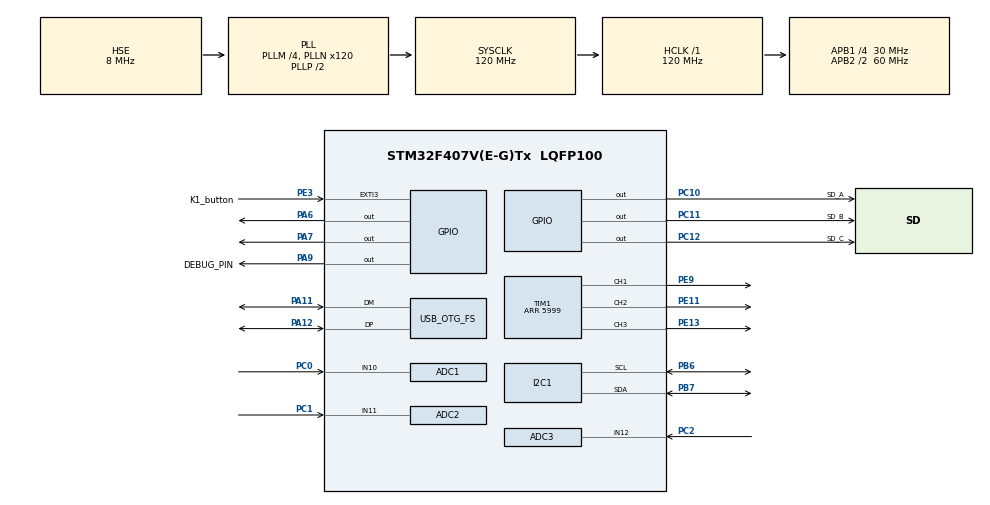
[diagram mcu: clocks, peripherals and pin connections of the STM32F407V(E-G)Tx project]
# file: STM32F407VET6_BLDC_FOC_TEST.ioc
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ADC1.Channel-3\#ChannelRegularConversion=ADC_CHANNEL_10
ADC1.Channel-4\#ChannelInjectedConversion=ADC_CHANNEL_10
ADC1.ExternalTrigInjecConv=ADC_EXTERNALTRIGINJECCONV_T1_CC4
ADC1.ExternalTrigInjecConvEdge=ADC_EXTERNALTRIGINJECCONVEDGE_FALLING
ADC1.InjNumberOfConversion=1
ADC1.InjectedOffset-4\#ChannelInjectedConversion=0
ADC1.InjectedRank-4\#ChannelInjectedConversion=1
ADC1.Mode=ADC_TRIPLEMODE_INJECSIMULT
ADC1.NbrOfConversionFlag=1
ADC1.Rank-3\#ChannelRegularConversion=1
ADC1.SamplingTime-3\#ChannelRegularConversion=ADC_SAMPLETIME_3CYCLES
ADC1.SamplingTime-4\#ChannelInjectedConversion=ADC_SAMPLETIME_28CYCLES
ADC1.master=1
ADC2.Channel-4\#ChannelRegularConversion=ADC_CHANNEL_11
ADC2.Channel-5\#ChannelInjectedConversion=ADC_CHANNEL_11
ADC2.InjNumberOfConversion=1
ADC2.InjectedOffset-5\#ChannelInjectedConversion=0
ADC2.InjectedRank-5\#ChannelInjectedConversion=1
ADC2.Mode=ADC_TRIPLEMODE_INJECSIMULT
ADC2.NbrOfConversionFlag=1
ADC2.Rank-4\#ChannelRegularConversion=1
ADC2.SamplingTime-4\#ChannelRegularConversion=ADC_SAMPLETIME_3CYCLES
ADC2.SamplingTime-5\#ChannelInjectedConversion=ADC_SAMPLETIME_28CYCLES
ADC3.Channel-0\#ChannelRegularConversion=ADC_CHANNEL_12
ADC3.Channel-1\#ChannelInjectedConversion=ADC_CHANNEL_12
ADC3.InjNumberOfConversion=1
ADC3.InjectedOffset-1\#ChannelInjectedConversion=0
ADC3.InjectedRank-1\#ChannelInjectedConversion=1
ADC3.Mode=ADC_TRIPLEMODE_INJECSIMULT
ADC3.NbrOfConversionFlag=1
ADC3.Rank-0\#ChannelRegularConversion=1
ADC3.SamplingTime-0\#ChannelRegularConversion=ADC_SAMPLETIME_3CYCLES
ADC3.SamplingTime-1\#ChannelInjectedConversion=ADC_SAMPLETIME_28CYCLES
FREERTOS.Tasks01=mainTask1,24,2048,main_task1,Default,NULL,Static,defaultTaskBuffer,defaultTaskControlBlock;debugTask,8,1024,debug_main,Default,NULL,Static,debugTaskBuffer,debugTaskControlBlock
FREERTOS.configUSE_NEWLIB_REENTRANT=1
I2C1.I2C_Mode=I2C_Fast
Mcu.Family=STM32F4
Mcu.Name=STM32F407V(E-G)Tx
Mcu.Package=LQFP100
NVIC.ADC_IRQn=true\:5\:0\:false\:false\:true\:true\:true\:true\:true
NVIC.EXTI3_IRQn=true\:5\:0\:false\:false\:true\:true\:true\:true\:true
NVIC.OTG_FS_IRQn=true\:5\:0\:false\:false\:true\:true\:false\:true\:true
NVIC.PriorityGroup=NVIC_PRIORITYGROUP_4
NVIC.TIM6_DAC_IRQn=true\:15\:0\:false\:false\:true\:false\:false\:true\:true
NVIC.TimeBase=TIM6_DAC_IRQn
NVIC.TimeBaseIP=TIM6
PA11.Mode=Device_Only
PA11.Signal=USB_OTG_FS_DM
PA12.Mode=Device_Only
PA12.Signal=USB_OTG_FS_DP
PA6.Signal=GPIO_Output
PA7.Signal=GPIO_Output
PA9.GPIO_Label=DEBUG_PIN
PA9.Signal=GPIO_Output
PB6.Mode=I2C
PB6.Signal=I2C1_SCL
PB7.Mode=I2C
PB7.Signal=I2C1_SDA
PC0.Signal=ADCx_IN10
PC1.Signal=ADCx_IN11
PC10.GPIO_Label=SD_A
PC10.Signal=GPIO_Output
PC11.GPIO_Label=SD_B
PC11.Signal=GPIO_Output
PC12.GPIO_Label=SD_C
PC12.Signal=GPIO_Output
PC2.Signal=ADCx_IN12
PE11.Signal=S_TIM1_CH2
PE13.Signal=S_TIM1_CH3
PE3.GPIO_Label=K1_button
PE3.GPIO_ModeDefaultEXTI=GPIO_MODE_IT_RISING_FALLING
PE3.Signal=GPXTI3
PE9.Signal=S_TIM1_CH1
PH0-OSC_IN.Mode=HSE-External-Oscillator
PH0-OSC_IN.Signal=RCC_OSC_IN
PH1-OSC_OUT.Mode=HSE-External-Oscillator
PH1-OSC_OUT.Signal=RCC_OSC_OUT
ProjectManager.HeapSize=0x200
ProjectManager.StackSize=0x400
ProjectManager.TargetToolchain=STM32CubeIDE
RCC.48MHZClocksFreq_Value=48000000
RCC.AHBFreq_Value=120000000
RCC.APB1CLKDivider=RCC_HCLK_DIV4
RCC.APB1Freq_Value=30000000
RCC.APB1TimFreq_Value=60000000
RCC.APB2CLKDivider=RCC_HCLK_DIV2
RCC.APB2Freq_Value=60000000
RCC.APB2TimFreq_Value=120000000
RCC.CortexFreq_Value=120000000
RCC.HCLKFreq_Value=120000000
RCC.HSE_VALUE=8000000
RCC.HSI_VALUE=16000000
RCC.LSE_VALUE=32768
RCC.PLLM=4
RCC.PLLN=120
RCC.PLLQ=5
RCC.SYSCLKFreq_VALUE=120000000
RCC.SYSCLKSource=RCC_SYSCLKSOURCE_PLLCLK
RCC.VCOOutputFreq_Value=240000000
SH.ADCx_IN10.0=ADC1_IN10,IN10
SH.ADCx_IN11.0=ADC2_IN11,IN11
SH.ADCx_IN12.0=ADC3_IN12,IN12
SH.S_TIM1_CH1.0=TIM1_CH1,PWM Generation1 CH1
SH.S_TIM1_CH2.0=TIM1_CH2,PWM Generation2 CH2
SH.S_TIM1_CH3.0=TIM1_CH3,PWM Generation3 CH3
TIM1.AutoReloadPreload=TIM_AUTORELOAD_PRELOAD_ENABLE
TIM1.Channel-PWM\ Generation1\ CH1=TIM_CHANNEL_1
TIM1.Channel-PWM\ Generation2\ CH2=TIM_CHANNEL_2
TIM1.Channel-PWM\ Generation3\ CH3=TIM_CHANNEL_3
TIM1.Channel-PWM\ Generation4\ No\ Output=TIM_CHANNEL_4
TIM1.CounterMode=TIM_COUNTERMODE_CENTERALIGNED2
TIM1.Period=5999
TIM1.TIM_MasterOutputTrigger=TIM_TRGO_UPDATE
USB_DEVICE.CLASS_NAME_FS=CDC
USB_DEVICE.VirtualMode-CDC_FS=Cdc
USB_DEVICE.VirtualModeFS=Cdc_FS
USB_OTG_FS.VirtualMode=Device_Only
VP_FREERTOS_VS_CMSIS_V2.Mode=CMSIS_V2
VP_SYS_VS_tim6.Mode=TIM6
VP_TIM1_VS_no_output4.Mode=PWM Generation4 No Output
VP_USB_DEVICE_VS_USB_DEVICE_CDC_FS.Mode=CDC_FS
board=custom

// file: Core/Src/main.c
/* USER CODE BEGIN Header */
/**
 ******************************************************************************
 * @file           : main.c
 * @brief          : Main program body
 ******************************************************************************
 * @attention
 *
 * Copyright (c) 2026 STMicroelectronics.
 * All rights reserved.
 *
 * This software is licensed under terms that can be found in the LICENSE file
 * in the root directory of this software component.
 * If no LICENSE file comes with this software, it is provided AS-IS.
 *
 ******************************************************************************
 */
/* USER CODE END Header */
#include <foc_utils.h>
#include "main.h"
#include "cmsis_os.h"
#include "usb_device.h"

/* USER CODE BEGIN Includes */
#include "as5600.h"
#include "foc_utils.h"
#include "usbd_cdc_if.h"
#include "string.h"
#include "math.h"
/* USER CODE END Includes */

typedef StaticTask_t osStaticThreadDef_t;

/* USER CODE BEGIN PD */
#define POLE_PAIRS_5010		(7)
/* USER CODE END PD */

ADC_HandleTypeDef hadc1;
ADC_HandleTypeDef hadc2;
ADC_HandleTypeDef hadc3;

I2C_HandleTypeDef hi2c1;

TIM_HandleTypeDef htim1;

/* Definitions for mainTask1 */
osThreadId_t mainTask1Handle;
uint32_t defaultTaskBuffer[ 2048 ];
osStaticThreadDef_t defaultTaskControlBlock;
const osThreadAttr_t mainTask1_attributes = {
		.name = "mainTask1",
		.cb_mem = &defaultTaskControlBlock,
		.cb_size = sizeof(defaultTaskControlBlock),
		.stack_mem = &defaultTaskBuffer[0],
		.stack_size = sizeof(defaultTaskBuffer),
		.priority = (osPriority_t) osPriorityNormal,
};
/* Definitions for debugTask */
osThreadId_t debugTaskHandle;
uint32_t debugTaskBuffer[ 1024 ];
osStaticThreadDef_t debugTaskControlBlock;
const osThreadAttr_t debugTask_attributes = {
		.name = "debugTask",
		.cb_mem = &debugTaskControlBlock,
		.cb_size = sizeof(debugTaskControlBlock),
		.stack_mem = &debugTaskBuffer[0],
		.stack_size = sizeof(debugTaskBuffer),
		.priority = (osPriority_t) osPriorityLow,
};

void SystemClock_Config(void);
static void MX_GPIO_Init(void);
static void MX_ADC1_Init(void);
static void MX_TIM1_Init(void);
static void MX_ADC2_Init(void);
static void MX_I2C1_Init(void);
static void MX_ADC3_Init(void);
void main_task1(void *argument);
void debug_main(void *argument);

int main(void)
{

	/* MCU Configuration--------------------------------------------------------*/

	/* Reset of all peripherals, Initializes the Flash interface and the Systick. */
	HAL_Init();

	/* Configure the system clock */
	SystemClock_Config();

	/* Initialize all configured peripherals */
	MX_GPIO_Init();
	MX_ADC1_Init();
	MX_TIM1_Init();
	MX_ADC2_Init();
	MX_I2C1_Init();
	MX_ADC3_Init();

	/* Init scheduler */
	osKernelInitialize();

	/* Create the thread(s) */
	/* creation of mainTask1 */
	mainTask1Handle = osThreadNew(main_task1, NULL, &mainTask1_attributes);

	/* creation of debugTask */
	debugTaskHandle = osThreadNew(debug_main, NULL, &debugTask_attributes);

	/* Start scheduler */
	osKernelStart();

	/* We should never get here as control is now taken by the scheduler */

	/* Infinite loop */
	while (1)
	{

	}
}

void SystemClock_Config(void)
{
	RCC_OscInitTypeDef RCC_OscInitStruct = {0};
	RCC_ClkInitTypeDef RCC_ClkInitStruct = {0};

	/** Configure the main internal regulator output voltage
	 */
	__HAL_RCC_PWR_CLK_ENABLE();
	__HAL_PWR_VOLTAGESCALING_CONFIG(PWR_REGULATOR_VOLTAGE_SCALE1);

	/** Initializes the RCC Oscillators according to the specified parameters
	 * in the RCC_OscInitTypeDef structure.
	 */
	RCC_OscInitStruct.OscillatorType = RCC_OSCILLATORTYPE_HSE;
	RCC_OscInitStruct.HSEState = RCC_HSE_ON;
	RCC_OscInitStruct.PLL.PLLState = RCC_PLL_ON;
	RCC_OscInitStruct.PLL.PLLSource = RCC_PLLSOURCE_HSE;
	RCC_OscInitStruct.PLL.PLLM = 4;
	RCC_OscInitStruct.PLL.PLLN = 120;
	RCC_OscInitStruct.PLL.PLLP = RCC_PLLP_DIV2;
	RCC_OscInitStruct.PLL.PLLQ = 5;
	if (HAL_RCC_OscConfig(&RCC_OscInitStruct) != HAL_OK)
	{
		Error_Handler();
	}

	/** Initializes the CPU, AHB and APB buses clocks
	 */
	RCC_ClkInitStruct.ClockType = RCC_CLOCKTYPE_HCLK|RCC_CLOCKTYPE_SYSCLK
			|RCC_CLOCKTYPE_PCLK1|RCC_CLOCKTYPE_PCLK2;
	RCC_ClkInitStruct.SYSCLKSource = RCC_SYSCLKSOURCE_PLLCLK;
	RCC_ClkInitStruct.AHBCLKDivider = RCC_SYSCLK_DIV1;
	RCC_ClkInitStruct.APB1CLKDivider = RCC_HCLK_DIV4;
	RCC_ClkInitStruct.APB2CLKDivider = RCC_HCLK_DIV2;

	if (HAL_RCC_ClockConfig(&RCC_ClkInitStruct, FLASH_LATENCY_3) != HAL_OK)
	{
		Error_Handler();
	}
}

static void MX_ADC1_Init(void)
{

	ADC_MultiModeTypeDef multimode = {0};
	ADC_ChannelConfTypeDef sConfig = {0};
	ADC_InjectionConfTypeDef sConfigInjected = {0};

	/** Configure the global features of the ADC (Clock, Resolution, Data Alignment and number of conversion)
	 */
	hadc1.Instance = ADC1;
	hadc1.Init.ClockPrescaler = ADC_CLOCK_SYNC_PCLK_DIV2;
	hadc1.Init.Resolution = ADC_RESOLUTION_12B;
	hadc1.Init.ScanConvMode = DISABLE;
	hadc1.Init.ContinuousConvMode = DISABLE;
	hadc1.Init.DiscontinuousConvMode = DISABLE;
	hadc1.Init.ExternalTrigConvEdge = ADC_EXTERNALTRIGCONVEDGE_NONE;
	hadc1.Init.ExternalTrigConv = ADC_SOFTWARE_START;
	hadc1.Init.DataAlign = ADC_DATAALIGN_RIGHT;
	hadc1.Init.NbrOfConversion = 1;
	hadc1.Init.DMAContinuousRequests = DISABLE;
	hadc1.Init.EOCSelection = ADC_EOC_SINGLE_CONV;
	if (HAL_ADC_Init(&hadc1) != HAL_OK)
	{
		Error_Handler();
	}

	/** Configure the ADC multi-mode
	 */
	multimode.Mode = ADC_TRIPLEMODE_INJECSIMULT;
	multimode.TwoSamplingDelay = ADC_TWOSAMPLINGDELAY_5CYCLES;
	if (HAL_ADCEx_MultiModeConfigChannel(&hadc1, &multimode) != HAL_OK)
	{
		Error_Handler();
	}

	/** Configure for the selected ADC regular channel its corresponding rank in the sequencer and its sample time.
	 */
	sConfig.Channel = ADC_CHANNEL_10;
	sConfig.Rank = 1;
	sConfig.SamplingTime = ADC_SAMPLETIME_3CYCLES;
	if (HAL_ADC_ConfigChannel(&hadc1, &sConfig) != HAL_OK)
	{
		Error_Handler();
	}

	/** Configures for the selected ADC injected channel its corresponding rank in the sequencer and its sample time
	 */
	sConfigInjected.InjectedChannel = ADC_CHANNEL_10;
	sConfigInjected.InjectedRank = 1;
	sConfigInjected.InjectedNbrOfConversion = 1;
	sConfigInjected.InjectedSamplingTime = ADC_SAMPLETIME_28CYCLES;
	sConfigInjected.ExternalTrigInjecConvEdge = ADC_EXTERNALTRIGINJECCONVEDGE_FALLING;
	sConfigInjected.ExternalTrigInjecConv = ADC_EXTERNALTRIGINJECCONV_T1_CC4;
	sConfigInjected.AutoInjectedConv = DISABLE;
	sConfigInjected.InjectedDiscontinuousConvMode = DISABLE;
	sConfigInjected.InjectedOffset = 0;
	if (HAL_ADCEx_InjectedConfigChannel(&hadc1, &sConfigInjected) != HAL_OK)
	{
		Error_Handler();
	}

}

static void MX_ADC2_Init(void)
{

	ADC_ChannelConfTypeDef sConfig = {0};
	ADC_InjectionConfTypeDef sConfigInjected = {0};

	/** Configure the global features of the ADC (Clock, Resolution, Data Alignment and number of conversion)
	 */
	hadc2.Instance = ADC2;
	hadc2.Init.ClockPrescaler = ADC_CLOCK_SYNC_PCLK_DIV2;
	hadc2.Init.Resolution = ADC_RESOLUTION_12B;
	hadc2.Init.ScanConvMode = DISABLE;
	hadc2.Init.ContinuousConvMode = DISABLE;
	hadc2.Init.DiscontinuousConvMode = DISABLE;
	hadc2.Init.DataAlign = ADC_DATAALIGN_RIGHT;
	hadc2.Init.NbrOfConversion = 1;
	hadc2.Init.DMAContinuousRequests = DISABLE;
	hadc2.Init.EOCSelection = ADC_EOC_SINGLE_CONV;
	if (HAL_ADC_Init(&hadc2) != HAL_OK)
	{
		Error_Handler();
	}

	/** Configure for the selected ADC regular channel its corresponding rank in the sequencer and its sample time.
	 */
	sConfig.Channel = ADC_CHANNEL_11;
	sConfig.Rank = 1;
	sConfig.SamplingTime = ADC_SAMPLETIME_3CYCLES;
	if (HAL_ADC_ConfigChannel(&hadc2, &sConfig) != HAL_OK)
	{
		Error_Handler();
	}

	/** Configures for the selected ADC injected channel its corresponding rank in the sequencer and its sample time
	 */
	sConfigInjected.InjectedChannel = ADC_CHANNEL_11;
	sConfigInjected.InjectedRank = 1;
	sConfigInjected.InjectedNbrOfConversion = 1;
	sConfigInjected.InjectedSamplingTime = ADC_SAMPLETIME_28CYCLES;
	sConfigInjected.AutoInjectedConv = ENABLE;
	sConfigInjected.InjectedDiscontinuousConvMode = DISABLE;
	sConfigInjected.InjectedOffset = 0;
	if (HAL_ADCEx_InjectedConfigChannel(&hadc2, &sConfigInjected) != HAL_OK)
	{
		Error_Handler();
	}

}

static void MX_ADC3_Init(void)
{

	ADC_ChannelConfTypeDef sConfig = {0};
	ADC_InjectionConfTypeDef sConfigInjected = {0};

	/** Configure the global features of the ADC (Clock, Resolution, Data Alignment and number of conversion)
	 */
	hadc3.Instance = ADC3;
	hadc3.Init.ClockPrescaler = ADC_CLOCK_SYNC_PCLK_DIV2;
	hadc3.Init.Resolution = ADC_RESOLUTION_12B;
	hadc3.Init.ScanConvMode = DISABLE;
	hadc3.Init.ContinuousConvMode = DISABLE;
	hadc3.Init.DiscontinuousConvMode = DISABLE;
	hadc3.Init.DataAlign = ADC_DATAALIGN_RIGHT;
	hadc3.Init.NbrOfConversion = 1;
	hadc3.Init.DMAContinuousRequests = DISABLE;
	hadc3.Init.EOCSelection = ADC_EOC_SINGLE_CONV;
	if (HAL_ADC_Init(&hadc3) != HAL_OK)
	{
		Error_Handler();
	}

	/** Configure for the selected ADC regular channel its corresponding rank in the sequencer and its sample time.
	 */
	sConfig.Channel = ADC_CHANNEL_12;
	sConfig.Rank = 1;
	sConfig.SamplingTime = ADC_SAMPLETIME_3CYCLES;
	if (HAL_ADC_ConfigChannel(&hadc3, &sConfig) != HAL_OK)
	{
		Error_Handler();
	}

	/** Configures for the selected ADC injected channel its corresponding rank in the sequencer and its sample time
	 */
	sConfigInjected.InjectedChannel = ADC_CHANNEL_12;
	sConfigInjected.InjectedRank = 1;
	sConfigInjected.InjectedNbrOfConversion = 1;
	sConfigInjected.InjectedSamplingTime = ADC_SAMPLETIME_28CYCLES;
	sConfigInjected.AutoInjectedConv = ENABLE;
	sConfigInjected.InjectedDiscontinuousConvMode = DISABLE;
	sConfigInjected.InjectedOffset = 0;
	if (HAL_ADCEx_InjectedConfigChannel(&hadc3, &sConfigInjected) != HAL_OK)
	{
		Error_Handler();
	}

}

static void MX_I2C1_Init(void)
{

	hi2c1.Instance = I2C1;
	hi2c1.Init.ClockSpeed = 400000;
	hi2c1.Init.DutyCycle = I2C_DUTYCYCLE_2;
	hi2c1.Init.OwnAddress1 = 0;
	hi2c1.Init.AddressingMode = I2C_ADDRESSINGMODE_7BIT;
	hi2c1.Init.DualAddressMode = I2C_DUALADDRESS_DISABLE;
	hi2c1.Init.OwnAddress2 = 0;
	hi2c1.Init.GeneralCallMode = I2C_GENERALCALL_DISABLE;
	hi2c1.Init.NoStretchMode = I2C_NOSTRETCH_DISABLE;
	if (HAL_I2C_Init(&hi2c1) != HAL_OK)
	{
		Error_Handler();
	}

}

static void MX_TIM1_Init(void)
{

	TIM_MasterConfigTypeDef sMasterConfig = {0};
	TIM_OC_InitTypeDef sConfigOC = {0};
	TIM_BreakDeadTimeConfigTypeDef sBreakDeadTimeConfig = {0};

	htim1.Instance = TIM1;
	htim1.Init.Prescaler = 0;
	htim1.Init.CounterMode = TIM_COUNTERMODE_CENTERALIGNED2;
	htim1.Init.Period = 5999;
	htim1.Init.ClockDivision = TIM_CLOCKDIVISION_DIV1;
	htim1.Init.RepetitionCounter = 0;
	htim1.Init.AutoReloadPreload = TIM_AUTORELOAD_PRELOAD_ENABLE;
	if (HAL_TIM_PWM_Init(&htim1) != HAL_OK)
	{
		Error_Handler();
	}
	sMasterConfig.MasterOutputTrigger = TIM_TRGO_UPDATE;
	sMasterConfig.MasterSlaveMode = TIM_MASTERSLAVEMODE_DISABLE;
	if (HAL_TIMEx_MasterConfigSynchronization(&htim1, &sMasterConfig) != HAL_OK)
	{
		Error_Handler();
	}
	sConfigOC.OCMode = TIM_OCMODE_PWM1;
	sConfigOC.Pulse = 0;
	sConfigOC.OCPolarity = TIM_OCPOLARITY_HIGH;
	sConfigOC.OCNPolarity = TIM_OCNPOLARITY_HIGH;
	sConfigOC.OCFastMode = TIM_OCFAST_DISABLE;
	sConfigOC.OCIdleState = TIM_OCIDLESTATE_RESET;
	sConfigOC.OCNIdleState = TIM_OCNIDLESTATE_RESET;
	if (HAL_TIM_PWM_ConfigChannel(&htim1, &sConfigOC, TIM_CHANNEL_1) != HAL_OK)
	{
		Error_Handler();
	}
	if (HAL_TIM_PWM_ConfigChannel(&htim1, &sConfigOC, TIM_CHANNEL_2) != HAL_OK)
	{
		Error_Handler();
	}
	if (HAL_TIM_PWM_ConfigChannel(&htim1, &sConfigOC, TIM_CHANNEL_3) != HAL_OK)
	{
		Error_Handler();
	}
	if (HAL_TIM_PWM_ConfigChannel(&htim1, &sConfigOC, TIM_CHANNEL_4) != HAL_OK)
	{
		Error_Handler();
	}
	sBreakDeadTimeConfig.OffStateRunMode = TIM_OSSR_DISABLE;
	sBreakDeadTimeConfig.OffStateIDLEMode = TIM_OSSI_DISABLE;
	sBreakDeadTimeConfig.LockLevel = TIM_LOCKLEVEL_OFF;
	sBreakDeadTimeConfig.DeadTime = 0;
	sBreakDeadTimeConfig.BreakState = TIM_BREAK_DISABLE;
	sBreakDeadTimeConfig.BreakPolarity = TIM_BREAKPOLARITY_HIGH;
	sBreakDeadTimeConfig.AutomaticOutput = TIM_AUTOMATICOUTPUT_DISABLE;
	if (HAL_TIMEx_ConfigBreakDeadTime(&htim1, &sBreakDeadTimeConfig) != HAL_OK)
	{
		Error_Handler();
	}
	HAL_TIM_MspPostInit(&htim1);

}

static void MX_GPIO_Init(void)
{
	GPIO_InitTypeDef GPIO_InitStruct = {0};

	/* GPIO Ports Clock Enable */
	__HAL_RCC_GPIOE_CLK_ENABLE();
	__HAL_RCC_GPIOH_CLK_ENABLE();
	__HAL_RCC_GPIOC_CLK_ENABLE();
	__HAL_RCC_GPIOA_CLK_ENABLE();
	__HAL_RCC_GPIOB_CLK_ENABLE();

	/*Configure GPIO pin Output Level */
	HAL_GPIO_WritePin(GPIOA, GPIO_PIN_6|GPIO_PIN_7|DEBUG_PIN_Pin, GPIO_PIN_RESET);

	/*Configure GPIO pin Output Level */
	HAL_GPIO_WritePin(GPIOC, SD_A_Pin|SD_B_Pin|SD_C_Pin, GPIO_PIN_RESET);

	/*Configure GPIO pin : K1_button_Pin */
	GPIO_InitStruct.Pin = K1_button_Pin;
	GPIO_InitStruct.Mode = GPIO_MODE_IT_RISING_FALLING;
	GPIO_InitStruct.Pull = GPIO_NOPULL;
	HAL_GPIO_Init(K1_button_GPIO_Port, &GPIO_InitStruct);

	/*Configure GPIO pins : PA6 PA7 DEBUG_PIN_Pin */
	GPIO_InitStruct.Pin = GPIO_PIN_6|GPIO_PIN_7|DEBUG_PIN_Pin;
	GPIO_InitStruct.Mode = GPIO_MODE_OUTPUT_PP;
	GPIO_InitStruct.Pull = GPIO_NOPULL;
	GPIO_InitStruct.Speed = GPIO_SPEED_FREQ_LOW;
	HAL_GPIO_Init(GPIOA, &GPIO_InitStruct);

	/*Configure GPIO pins : SD_A_Pin SD_B_Pin SD_C_Pin */
	GPIO_InitStruct.Pin = SD_A_Pin|SD_B_Pin|SD_C_Pin;
	GPIO_InitStruct.Mode = GPIO_MODE_OUTPUT_PP;
	GPIO_InitStruct.Pull = GPIO_NOPULL;
	GPIO_InitStruct.Speed = GPIO_SPEED_FREQ_LOW;
	HAL_GPIO_Init(GPIOC, &GPIO_InitStruct);

	/* EXTI interrupt init*/
	HAL_NVIC_SetPriority(EXTI3_IRQn, 5, 0);
	HAL_NVIC_EnableIRQ(EXTI3_IRQn);

}

/* USER CODE BEGIN 4 */
uint8_t comm_step = 0;
volatile float speed = 800.0f;           // Delay in microseconds between steps (smaller = faster)
volatile uint16_t pwm_duty = 4800;       // 0 ~ 5999
volatile uint8_t buttonHeld = 0;
char usb_tx[128];

AS5600_t as5600_dev;
BLDC_t bldc_motor;

volatile uint16_t raw_adc_curr = 0;
volatile int16_t raw_adc_curr_local = 0;

float current_offset = 1.65f;     // in volts
float current_sensitivity = 0.06f;  // V/A

void HAL_ADCEx_InjectedConvCpltCallback(ADC_HandleTypeDef *hadc)
{
	if(hadc->Instance == ADC1)
	{
		//DEBUG_PIN_GPIO_Port->BSRR = DEBUG_PIN_Pin<<16;
		//DEBUG_PIN_GPIO_Port->BSRR = DEBUG_PIN_Pin;

		raw_adc_curr = (uint16_t)ADC1->JDR1; //maybe use atomic or disable interrupts
		//ib = ADC2->JDR1;
		//ic = ADC3->JDR1;
	}
}

void HAL_GPIO_EXTI_Callback(uint16_t GPIO_Pin)
{
	/* Check if the interrupt came from Pin 3 */
	if(GPIO_Pin == GPIO_PIN_3)
	{
		// Active LOW button with pull-up
		if(HAL_GPIO_ReadPin(K1_button_GPIO_Port, K1_button_Pin) == GPIO_PIN_RESET)
		{
			// Falling edge -> button pressed
			buttonHeld = 1;
		}
		else
		{
			// Rising edge -> button released
			buttonHeld = 0;
		}
	}
}

void current_calibrate(void)
{
	float sum = 0.0f;
	const int samples = 4000;

	// Make sure motor is off / no current!
	__HAL_TIM_SET_COMPARE(&htim1, TIM_CHANNEL_1, 0);
	__HAL_TIM_SET_COMPARE(&htim1, TIM_CHANNEL_2, 0);
	__HAL_TIM_SET_COMPARE(&htim1, TIM_CHANNEL_3, 0);

	osDelay(50); // wait for current to settle

	for(int i = 0; i < samples; i++)
	{
		__disable_irq();
		uint16_t raw = raw_adc_curr;
		__enable_irq();

		sum += (raw * 3.3f) / 4095.0f;   // use 3.3V
		osDelay(1);
	}

	current_offset = sum / samples;
	// Print it via USB
	char buf[64];
	sprintf(buf, "\nCurrent offset calibrated: %.4f V\n", current_offset);
	CDC_Transmit_FS((uint8_t*)buf, strlen(buf));
}

/* Wrapper function for FreeRTOS osDelay */
void delay_wrapper(uint32_t ticks)
{
	osDelay(ticks);
}

/* USER CODE END 4 */

void main_task1(void *argument)
{
	/* init code for USB_DEVICE */
	MX_USB_DEVICE_Init();
	/* USER CODE BEGIN 5 */
	HAL_GPIO_WritePin(DEBUG_PIN_GPIO_Port, DEBUG_PIN_Pin, GPIO_PIN_SET); //Debug pin for oscilloscope

	__HAL_TIM_SET_COMPARE(&htim1, TIM_CHANNEL_4, 5990); //Setup CH4 pwm to near ARR so ADC injection is at middle

	HAL_TIM_PWM_Start(&htim1,TIM_CHANNEL_1);
	HAL_TIM_PWM_Start(&htim1,TIM_CHANNEL_2);
	HAL_TIM_PWM_Start(&htim1,TIM_CHANNEL_3);
	HAL_TIM_PWM_Start(&htim1,TIM_CHANNEL_4);

	HAL_GPIO_WritePin(GPIOA, GPIO_PIN_7, GPIO_PIN_SET);

	HAL_GPIO_WritePin(SD_A_GPIO_Port, SD_A_Pin, GPIO_PIN_SET);
	HAL_GPIO_WritePin(SD_B_GPIO_Port, SD_B_Pin, GPIO_PIN_SET);
	HAL_GPIO_WritePin(SD_C_GPIO_Port, SD_C_Pin, GPIO_PIN_SET);

	HAL_ADCEx_InjectedStart_IT(&hadc1);

	osDelay(100);   // let ADC stabilize
	//current_calibrate();  // IMPORTANT

	if(as5600_init(&as5600_dev, &hi2c1, AS5600_ADDR) != AS_OK)
	{
		sprintf(usb_tx, "\nFailed to initialize AS5600 encoder...");
		CDC_Transmit_FS((uint8_t*)usb_tx, strlen(usb_tx));
	}

	uint8_t bldc_init = init_motor_foc(&bldc_motor,
			  	  	  	  	  	  	   &htim1,
									   as5600_dev,
									   &hadc1,
									   7,
									   20000,
									   1.0, 0.0002,
									   delay_wrapper);

	if(bldc_init != BLDC_OK)
	{
		sprintf(usb_tx, "\nFailed to initialize BLDC...");
		CDC_Transmit_FS((uint8_t*)usb_tx, strlen(usb_tx));
	}
	else
	{
		motor_align(&bldc_motor);
	}

	/* Infinite loop */
	while(1)
	{
		//current=(vadc-vref)/gain*rshunt;
		/*
		__disable_irq();
		raw_adc_curr_local = raw_adc_curr;
		__enable_irq();

		float adc_vref = 3.1f;                    // keep this (or 2.85–2.87)
		//float current_offset = 1.650f;

		// === Stronger moving average ===
		static float current_filtered = 0.0f;
		const float alpha = 0.1f;                 // lower = smoother (try 0.05–0.12)

		float adc_voltage = (raw_adc_curr_local * adc_vref) / 4095.0f;
		float current_raw = (adc_voltage - current_offset) / 0.06f;

		current_filtered = alpha * current_raw + (1.0f - alpha) * current_filtered;

		//NVIC_SystemReset();
		//current_filtered=0;
		sprintf(usb_tx, "\nRaw:%4d | V:%.3f | I:%.3f (raw:%.3f)",
				raw_adc_curr_local, adc_voltage, current_filtered, current_raw);
		CDC_Transmit_FS((uint8_t*)usb_tx, strlen(usb_tx));
		*/

		uint16_t mec_angle = (uint16_t)(as5600_dev.raw_angle * ENC_TO_DEG);
		uint16_t elec_angle = mec_angle * 7;

		sprintf(usb_tx, "\nElectrical angle: %d \nMechanical angle: %d", elec_angle, mec_angle);

		//sprintf(usb_tx, "\nRaw angle: %d", as5600_dev.raw_angle);

		CDC_Transmit_FS((uint8_t*)usb_tx, strlen(usb_tx));

		HAL_GPIO_TogglePin(GPIOA, GPIO_PIN_7);

		osDelay(500);
	}
	/* USER CODE END 5 */
}

void debug_main(void *argument)
{
	/* USER CODE BEGIN debug_main */
	/* Infinite loop */
	for(;;)
	{
		HAL_GPIO_TogglePin(GPIOA, GPIO_PIN_6);
		osDelay(500);
	}
	/* USER CODE END debug_main */
}

void HAL_TIM_PeriodElapsedCallback(TIM_HandleTypeDef *htim)
{
	if (htim->Instance == TIM6)
	{
		HAL_IncTick();
	}
}

void Error_Handler(void)
{
	__disable_irq();
	while (1)
	{
	}
}
